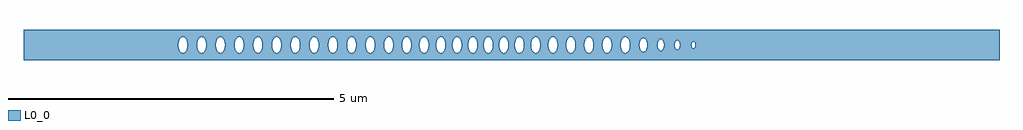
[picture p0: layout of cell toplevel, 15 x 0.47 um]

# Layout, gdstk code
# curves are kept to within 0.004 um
import gdstk
lib = gdstk.Library(unit=1e-6, precision=1e-09)
def P(c, l, *ps):  # polygons
    for p in ps: c.add(gdstk.Polygon(p, *l))
L0_0 = (0, 0)

toplevel = lib.new_cell('toplevel')
P(toplevel, L0_0, [(-4.543,0.023),(-4.531,0.073),(-4.519,0.096),(-4.519,0.235),(-7.5,0.235),(-7.5,-0.016),(-5.12,-0.016),(-5.117,0.038),(-5.107,0.073),(-5.084,0.109),(-5.054,0.124),(-5.028,0.118),(-4.999,0.085),(-4.984,0.046),(-4.98,-0.016),(-4.832,-0.016),(-4.829,0.038),(-4.819,0.073),(-4.796,0.109),(-4.766,0.124),(-4.74,0.118),(-4.717,0.096),(-4.7,0.06),(-4.691,0.008),(-4.696,-0.046),(-4.71,-0.085),(-4.728,-0.109),(-4.757,-0.124),(-4.784,-0.118),(-4.807,-0.096),(-4.824,-0.06),(-4.832,-0.016),(-4.98,-0.016),(-4.988,-0.06),(-5.005,-0.096),(-5.028,-0.118),(-5.045,-0.124),(-5.072,-0.118),(-5.095,-0.096),(-5.112,-0.06),(-5.12,-0.016),(-7.5,-0.016),(-7.5,-0.235),(-4.519,-0.235),(-4.519,-0.096),(-4.541,-0.038)],
  [(-3.967,0.016),(-3.955,0.073),(-3.928,0.112),(-3.893,0.124),(-3.864,0.109),(-3.864,0.235),(-4.519,0.235),(-4.519,0.096),(-4.5,0.115),(-4.478,0.124),(-4.461,0.122),(-4.44,0.109),(-4.412,0.06),(-4.404,0.023),(-4.404,-0.016),(-4.256,-0.016),(-4.253,0.038),(-4.243,0.073),(-4.22,0.109),(-4.19,0.124),(-4.164,0.118),(-4.137,0.09),(-4.12,0.046),(-4.115,0.008),(-4.117,-0.031),(-4.131,-0.079),(-4.152,-0.109),(-4.181,-0.124),(-4.207,-0.118),(-4.231,-0.096),(-4.243,-0.073),(-4.256,-0.016),(-4.404,-0.016),(-4.419,-0.079),(-4.452,-0.118),(-4.469,-0.124),(-4.487,-0.122),(-4.519,-0.096),(-4.519,-0.235),(-3.864,-0.235),(-3.864,-0.109),(-3.884,-0.122),(-3.902,-0.124),(-3.935,-0.105),(-3.955,-0.073),(-3.963,-0.046)],
  [(-3.262,-0.066),(-3.276,-0.096),(-3.295,-0.115),(-3.317,-0.124),(-3.343,-0.118),(-3.376,-0.079),(-3.39,-0.031),(-3.392,0.008),(-3.387,0.046),(-3.373,0.085),(-3.355,0.109),(-3.326,0.124),(-3.3,0.118),(-3.276,0.096),(-3.254,0.038),(-3.254,0.235),(-3.864,0.235),(-3.864,0.109),(-3.836,0.06),(-3.827,-0.008),(-3.68,-0.008),(-3.678,0.031),(-3.664,0.079),(-3.643,0.109),(-3.614,0.124),(-3.583,0.115),(-3.561,0.09),(-3.544,0.046),(-3.539,0.008),(-3.542,-0.038),(-3.552,-0.073),(-3.575,-0.109),(-3.605,-0.124),(-3.631,-0.118),(-3.658,-0.09),(-3.675,-0.046),(-3.68,-0.008),(-3.827,-0.008),(-3.836,-0.061),(-3.864,-0.109),(-3.864,-0.235),(-3.254,-0.235),(-3.254,-0.039)],
  [(-2.519,-0.235),(-2.519,-0.06),(-2.528,0),(-2.519,0.06),(-2.519,0.235),(-3.254,0.235),(-3.251,-0.008),(-3.104,-0.008),(-3.102,0.031),(-3.088,0.079),(-3.067,0.109),(-3.038,0.124),(-3.011,0.118),(-2.988,0.096),(-2.968,0.046),(-2.963,0),(-2.816,0),(-2.811,0.046),(-2.797,0.085),(-2.779,0.109),(-2.75,0.124),(-2.723,0.118),(-2.7,0.096),(-2.683,0.06),(-2.675,0.016),(-2.678,-0.038),(-2.688,-0.073),(-2.711,-0.109),(-2.741,-0.124),(-2.767,-0.118),(-2.797,-0.085),(-2.811,-0.046),(-2.816,0),(-2.963,0),(-2.966,-0.038),(-2.982,-0.085),(-2.999,-0.109),(-3.029,-0.124),(-3.055,-0.118),(-3.078,-0.096),(-3.095,-0.06),(-3.104,-0.008),(-3.251,-0.008),(-3.254,-0.235)],
  [(-2.514,0.073),(-2.502,0.096),(-2.479,0.118),(-2.444,0.122),(-2.419,0.105),(-2.4,0.073),(-2.387,0),(-2.241,0),(-2.236,0.046),(-2.215,0.096),(-2.192,0.118),(-2.161,0.123),(-2.132,0.105),(-2.113,0.073),(-2.103,0.038),(-2.1,-0.016),(-2.108,-0.06),(-2.125,-0.096),(-2.148,-0.118),(-2.166,-0.124),(-2.192,-0.118),(-2.215,-0.096),(-2.236,-0.046),(-2.241,0),(-2.387,0),(-2.4,-0.073),(-2.419,-0.105),(-2.448,-0.123),(-2.47,-0.122),(-2.491,-0.109),(-2.519,-0.061),(-2.519,-0.235),(-1.9,-0.235),(-1.9,-0.122),(-1.925,-0.105),(-1.944,-0.073),(-1.958,0),(-1.944,0.073),(-1.925,0.105),(-1.9,0.122),(-1.9,0.235),(-2.519,0.235),(-2.519,0.06)],
  [(-1.9,0.235),(-1.9,0.122),(-1.865,0.118),(-1.842,0.096),(-1.823,0.053),(-1.817,-0.016),(-1.681,-0.016),(-1.678,0.038),(-1.668,0.073),(-1.645,0.109),(-1.615,0.124),(-1.589,0.118),(-1.566,0.096),(-1.549,0.06),(-1.541,0.016),(-1.545,-0.046),(-1.554,-0.073),(-1.577,-0.109),(-1.607,-0.124),(-1.633,-0.118),(-1.656,-0.096),(-1.673,-0.06),(-1.681,-0.016),(-1.817,-0.016),(-1.825,-0.06),(-1.849,-0.105),(-1.874,-0.122),(-1.9,-0.122),(-1.9,-0.235),(-1.287,-0.235),(-1.287,-0.073),(-1.302,-0.1),(-1.322,-0.118),(-1.339,-0.124),(-1.357,-0.122),(-1.378,-0.109),(-1.395,-0.085),(-1.414,-0.016),(-1.411,0.038),(-1.401,0.073),(-1.389,0.096),(-1.37,0.115),(-1.348,0.124),(-1.322,0.118),(-1.302,0.1),(-1.287,0.073),(-1.287,0.235)],
  [(-0.664,-0.016),(-0.663,0.235),(-1.287,0.235),(-1.287,0.072),(-1.275,0.031),(-1.274,-0.016),(-1.156,-0.016),(-1.153,0.038),(-1.143,0.073),(-1.12,0.109),(-1.09,0.124),(-1.064,0.118),(-1.034,0.085),(-1.02,0.046),(-1.015,-0.008),(-0.907,-0.008),(-0.905,0.031),(-0.891,0.079),(-0.87,0.109),(-0.841,0.124),(-0.81,0.115),(-0.788,0.09),(-0.771,0.046),(-0.766,0.008),(-0.769,-0.038),(-0.779,-0.073),(-0.802,-0.109),(-0.832,-0.124),(-0.858,-0.118),(-0.885,-0.09),(-0.902,-0.046),(-0.907,-0.008),(-1.015,-0.008),(-1.02,-0.046),(-1.034,-0.085),(-1.052,-0.109),(-1.081,-0.124),(-1.107,-0.118),(-1.131,-0.096),(-1.143,-0.073),(-1.156,-0.016),(-1.274,-0.016),(-1.287,-0.073),(-1.287,-0.235),(-0.663,-0.235)],
  [(-0.662,0.031),(-0.654,0.066),(-0.636,0.1),(-0.616,0.118),(-0.59,0.124),(-0.56,0.109),(-0.537,0.073),(-0.527,0.038),(-0.524,-0.016),(-0.426,-0.016),(-0.423,0.038),(-0.407,0.085),(-0.378,0.118),(-0.351,0.124),(-0.322,0.109),(-0.304,0.085),(-0.29,0.046),(-0.285,0),(-0.29,-0.046),(-0.304,-0.085),(-0.322,-0.109),(-0.351,-0.124),(-0.378,-0.118),(-0.401,-0.096),(-0.418,-0.06),(-0.426,-0.016),(-0.524,-0.016),(-0.532,-0.06),(-0.549,-0.096),(-0.572,-0.118),(-0.59,-0.124),(-0.616,-0.118),(-0.639,-0.096),(-0.654,-0.066),(-0.663,-0.026),(-0.663,-0.235),(-0.156,-0.235),(-0.156,-0.105),(-0.176,-0.073),(-0.189,-0.016),(-0.184,0.046),(-0.176,0.073),(-0.156,0.105),(-0.156,0.235),(-0.663,0.235)],
  [(-0.145,0.115),(-0.114,0.124),(-0.097,0.118),(-0.077,0.1),(-0.053,0.046),(-0.048,-0.008),(0.051,-0.008),(0.056,0.046),(0.077,0.096),(0.104,0.12),(0.135,0.122),(0.16,0.105),(0.179,0.073),(0.189,0.038),(0.192,-0.016),(0.184,-0.06),(0.167,-0.096),(0.144,-0.118),(0.117,-0.124),(0.088,-0.109),(0.07,-0.085),(0.056,-0.046),(0.051,-0.008),(-0.048,-0.008),(-0.059,-0.066),(-0.085,-0.109),(-0.105,-0.122),(-0.123,-0.124),(-0.156,-0.105),(-0.156,-0.235),(0.414,-0.235),(0.414,-0.1),(0.394,-0.118),(0.377,-0.124),(0.346,-0.115),(0.327,-0.096),(0.315,-0.073),(0.302,-0.016),(0.311,0.06),(0.338,0.109),(0.359,0.122),(0.377,0.124),(0.394,0.118),(0.414,0.1),(0.414,0.235),(-0.156,0.235),(-0.156,0.105)],
  [(0.842,0.016),(0.86,0.085),(0.878,0.109),(0.907,0.124),(0.934,0.118),(0.957,0.096),(0.974,0.06),(0.982,0.016),(0.982,0.235),(0.414,0.235),(0.414,0.1),(0.438,0.046),(0.442,-0.016),(0.567,-0.016),(0.57,0.038),(0.58,0.073),(0.603,0.109),(0.633,0.124),(0.659,0.118),(0.682,0.096),(0.699,0.06),(0.707,0.016),(0.703,-0.046),(0.694,-0.073),(0.671,-0.109),(0.641,-0.124),(0.615,-0.118),(0.592,-0.096),(0.575,-0.06),(0.567,-0.016),(0.442,-0.016),(0.434,-0.06),(0.414,-0.1),(0.414,-0.235),(0.982,-0.235),(0.982,-0.018),(0.974,-0.06),(0.957,-0.096),(0.934,-0.118),(0.907,-0.124),(0.878,-0.109),(0.86,-0.085),(0.846,-0.046)],
  [(1.687,-0.235),(1.687,-0.06),(1.678,-0.008),(1.687,0.06),(1.687,0.235),(0.982,0.235),(0.982,0),(1.119,0),(1.124,0.046),(1.138,0.085),(1.156,0.109),(1.185,0.124),(1.212,0.118),(1.235,0.096),(1.254,0.053),(1.26,0),(1.397,0),(1.402,0.046),(1.416,0.085),(1.434,0.109),(1.463,0.124),(1.49,0.118),(1.513,0.096),(1.53,0.06),(1.538,0.016),(1.535,-0.038),(1.525,-0.073),(1.502,-0.109),(1.472,-0.124),(1.446,-0.118),(1.416,-0.085),(1.402,-0.046),(1.397,0),(1.26,0),(1.254,-0.053),(1.241,-0.085),(1.224,-0.109),(1.194,-0.124),(1.168,-0.118),(1.138,-0.085),(1.124,-0.046),(1.119,0),(0.982,0),(0.982,-0.235)],
  [(2.244,0.011),(2.249,0.043),(2.264,0.072),(2.284,0.088),(2.303,0.088),(2.303,0.235),(1.687,0.235),(1.687,0.06),(1.715,0.109),(1.735,0.122),(1.762,0.122),(1.783,0.109),(1.806,0.073),(1.816,0.038),(1.819,-0.013),(1.967,-0.013),(1.968,0.027),(1.98,0.068),(2.005,0.099),(2.035,0.106),(2.069,0.078),(2.085,0.033),(2.088,0),(2.074,-0.068),(2.06,-0.09),(2.035,-0.106),(2.008,-0.101),(1.988,-0.082),(1.972,-0.045),(1.967,-0.013),(1.819,-0.013),(1.81,-0.06),(1.794,-0.096),(1.775,-0.115),(1.753,-0.124),(1.735,-0.122),(1.715,-0.109),(1.687,-0.061),(1.687,-0.235),(2.303,-0.235),(2.303,-0.088),(2.278,-0.085),(2.259,-0.065),(2.246,-0.028)],
  [(2.343,-0.022),(2.331,-0.061),(2.303,-0.088),(2.303,-0.235),(7.5,-0.235),(7.5,0.235),(2.303,0.235),(2.303,0.088),(2.324,0.072),(2.337,0.048),(2.344,-0.005),(2.508,-0.005),(2.519,0.049),(2.529,0.063),(2.546,0.072),(2.564,0.067),(2.579,0.049),(2.588,0.022),(2.589,-0.01),(2.766,-0.01),(2.773,0.035),(2.793,0.054),(2.812,0.048),(2.827,0.013),(2.822,-0.032),(2.801,-0.054),(2.78,-0.046),(2.766,-0.01),(2.589,-0.01),(2.579,-0.049),(2.569,-0.063),(2.552,-0.072),(2.534,-0.067),(2.519,-0.049),(2.508,-0.005),(2.344,-0.005)])

lib.write_gds('toplevel.gds')
